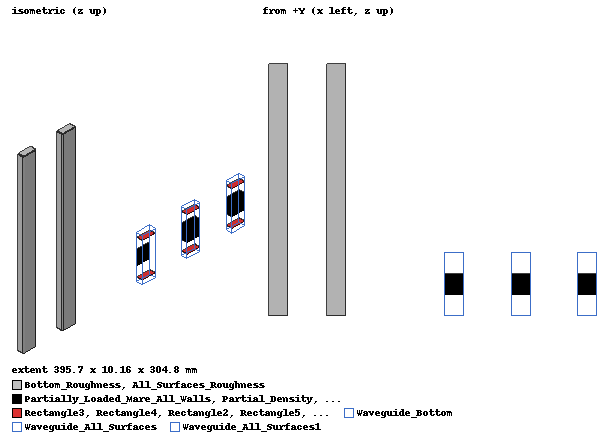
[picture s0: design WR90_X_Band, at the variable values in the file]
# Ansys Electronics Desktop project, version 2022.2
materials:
  vacuum: permittivity=1
  aluminum: permeability=1.000021 conductivity=38000000
  Rogers RO3003 (tm): permittivity=3 dielectric_loss_tangent=0.0013
  Mare_S_Band: permittivity=1.04 conductivity=4.34e-14 dielectric_loss_tangent=0.00298 delta_H_freq=2200000000
  Highlands_S_Band: permittivity=2.82 conductivity=4.34e-14 dielectric_loss_tangent=0.005 delta_H_freq=2200000000
  silver: permeability=0.99998 conductivity=61000000
  Mare_X-band: permittivity=3.5 conductivity=4.34e-14 dielectric_loss_tangent=0.00944 delta_H_freq=10000000000
  Highlands_X-band: permittivity=2.82 conductivity=4.34e-14 dielectric_loss_tangent=0.0066 delta_H_freq=10000000000
  Mare_Ka-band: permittivity=1.05 conductivity=4.34e-14 dielectric_loss_tangent=0.0029 delta_H_freq=26700000000
  Highlands_Ka-band: permittivity=1.5 conductivity=4.34e-14 dielectric_loss_tangent=0.0031 delta_H_freq=26700000000
  silicon_dioxide - experiment: permittivity=4 dielectric_loss_tangent=0.0002 delta_H_freq=2000000000
  alumina_99pct: permittivity=9.9 dielectric_loss_tangent=0.004 delta_H_freq=10000000000
  Mare_X-band - Partial: permittivity=3.18 conductivity=4.34e-14 dielectric_loss_tangent=0.0086 delta_H_freq=10000000000
  FR4_epoxy: permittivity=4.4 dielectric_loss_tangent=0.02
  conformal_coat: permittivity=3.1 permeability=1 dielectric_loss_tangent=0.035
  brass: conductivity=15000000
  bronze: conductivity=10000000
  pec: conductivity=1e+30
  Teflon (tm): permittivity=2.05 dielectric_loss_tangent=0.0002

design WR90_X_Band (HFSS, DrivenModal, model units mm)
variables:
  height = 1mm
  height_all_walls = 0.25mm
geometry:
  Waveguide_Bottom [vacuum] = box(corner=(-0.4mm, -1.2mm, 0mm), size=(22.86mm, 10.16mm, 3in))
  Waveguide_Bottom.move(-192.46mm, 0mm, 0mm)
  Partially_Loaded_Mare [Highlands_X-band] = box(corner=(-0.4mm, -1.2mm, 1in), size=(22.86mm, height, 1in))
  Partially_Loaded_Mare.move(-192.46mm, 0mm, 0mm)
  Waveguide_All_Surfaces [vacuum] = box(corner=(-0.4mm, -1.2mm, 0mm), size=(22.86mm, 10.16mm, 3in))
  Waveguide_All_Surfaces.move(-192.46mm, 0mm, 0mm)
  Partially_Loaded_Mare_All_Walls [Highlands_X-band] = box(corner=(-0.4mm, -1.2mm, 1in), size=(22.86mm, height_all_walls, 1in))
  Partially_Loaded_Mare_All_Walls.move(-192.46mm, 0mm, 0mm)
  [Waveguide_All_Surfaces, Partially_Loaded_Mare_All_Walls].move(-140mm, 0mm, 0mm)
  Box1 = box(corner=(-310mm, -1.2mm, 1in), size=(-height_all_walls, 10.16mm, 1in))
  Box2 = box(corner=(-332.86mm, -1.2mm, 1in), size=(height_all_walls, 10.16mm, 1in))
  Box3 = box(corner=(-310mm, 8.96mm, 1in), size=(-22.86mm, -height_all_walls, 1in))
  Partially_Loaded_Mare_All_Walls.unite(Box1, Box2, Box3)
  Bottom_Roughness [vacuum] = box(corner=(-0.4mm, -1.2mm, 0), size=(22.86mm, 10.16mm, 12in))
  Bottom_Roughness.move(60.4mm, 0mm, 0mm)
  Rectangle2 = rectangle(corner=(-310mm, 8.96mm, 7.5mm), x_size=-22.86mm, y_size=-10.16mm)
  Rectangle3 = rectangle(corner=(-170mm, 8.96mm, 7.5mm), x_size=-22.86mm, y_size=-10.16mm)
  Rectangle4 = rectangle(corner=(-192.86mm, 8.96mm, 3in-7.5mm), x_size=22.86mm, y_size=-10.16mm)
  Rectangle5 = rectangle(corner=(-332.86mm, 8.96mm, 3in-7.5mm), x_size=22.86mm, y_size=-10.16mm)
  [Waveguide_Bottom, Partially_Loaded_Mare, Rectangle3, Rectangle4].move(110mm, 0mm, 0mm)
  [Waveguide_All_Surfaces, Partially_Loaded_Mare_All_Walls, Rectangle2, Rectangle5].move(170mm, 0mm, 0mm)
  All_Surfaces_Roughness [vacuum] = box(corner=(-0.4mm, -1.2mm, 0), size=(22.86mm, 10.16mm, 12in))
  All_Surfaces_Roughness.move(60.4mm, 0mm, 0mm)
  All_Surfaces_Roughness.move(70mm, 0mm, 0mm)
  Waveguide_All_Surfaces1 [vacuum] = box(corner=(-0.4mm, -1.2mm, 0mm), size=(22.86mm, 10.16mm, 3in))
  Waveguide_All_Surfaces1.move(-192.46mm, 0mm, 0mm)
  Waveguide_All_Surfaces1.move(-140mm, 0mm, 0mm)
  Waveguide_All_Surfaces1.move(170mm, 0mm, 0mm)
  Rectangle6 = rectangle(corner=(-310mm, 8.96mm, 7.5mm), x_size=-22.86mm, y_size=-10.16mm)
  Rectangle6.move(170mm, 0mm, 0mm)
  Rectangle7 = rectangle(corner=(-332.86mm, 8.96mm, 3in-7.5mm), x_size=22.86mm, y_size=-10.16mm)
  Rectangle7.move(170mm, 0mm, 0mm)
  [Waveguide_All_Surfaces1, Rectangle6, Rectangle7].move(-80mm, 0mm, 0mm)
  Partial_Density [Highlands_X-band] = box(corner=(-220mm, 8.96mm, 25.4mm), size=(-22.86mm, -10.16mm, 25.4mm))
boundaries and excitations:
  FiniteCond1: Finite Conductivity Faces=Waveguide_Bottom.face(+y, -x, +x) UseMaterial Material=brass IsInternal
  FiniteCond2: Finite Conductivity Faces=Waveguide_All_Surfaces.face(+y, -x, +x, -y) UseMaterial Material=brass IsInternal
  FiniteCond3: Finite Conductivity Faces=Waveguide_Bottom.face(-y) UseMaterial Material=brass IsInternal
  Bot_Roughness: Finite Conductivity Faces=Bottom_Roughness.face(-y) UseMaterial Material=brass Roughness=100um IsInternal
  FiniteCond4: Finite Conductivity Faces=Bottom_Roughness.face(+y, -x, +x) UseMaterial Material=brass IsInternal
  All_Surfaces_Roughness: Finite Conductivity Faces=All_Surfaces_Roughness.face(+y, +x, -x, -y) UseMaterial Material=brass Roughness=25um IsInternal
  PerfE6: Perfect E Faces=Waveguide_Bottom.face(-z, +z) Waveguide_All_Surfaces.face(-z, +z)
  FiniteCond5: Finite Conductivity Faces=Waveguide_All_Surfaces1.face(+y, -x, +x, -y) UseMaterial Material=brass IsInternal
  1: Lumped Port Objects=Rectangle3 Modes{Mode1{IntLine{(-71.43, -1.2, 7.5) -> (-71.43, 8.96, 7.5)} CharImp=Zpi RenormImp=50ohm}} Impedance=50ohm
  2: Lumped Port Objects=Rectangle4 Modes{Mode1{IntLine{(-71.43, -1.2, 68.7) -> (-71.43, 8.96, 68.7)} CharImp=Zpi RenormImp=50ohm}} Impedance=50ohm
  3: Lumped Port Objects=Rectangle2 Modes{Mode1{IntLine{(-151.43, -1.2, 7.5) -> (-151.43, 8.96, 7.5)} CharImp=Zpi RenormImp=50ohm}} Impedance=50ohm
  4: Lumped Port Objects=Rectangle5 Modes{Mode1{IntLine{(-151.43, -1.2, 68.7) -> (-151.43, 8.96, 68.7)} CharImp=Zpi RenormImp=50ohm}} Impedance=50ohm
  5: Wave Port Faces=Bottom_Roughness.face(-z) NumModes=1 Modes{Mode1{IntLine{(71.43, -1.2, 0) -> (71.43, 8.96, 0)} CharImp=Zpi RenormImp=50ohm}}
  6: Wave Port Faces=Bottom_Roughness.face(+z) NumModes=1 Modes{Mode1{IntLine{(71.43, -1.2, 304.8) -> (71.43, 8.96, 304.8)} CharImp=Zpi RenormImp=50ohm}}
  7: Wave Port Faces=All_Surfaces_Roughness.face(-z) NumModes=1 Modes{Mode1{IntLine{(141.43, -1.2, 0) -> (141.43, 8.96, 0)} CharImp=Zpi RenormImp=50ohm}}
  8: Wave Port Faces=All_Surfaces_Roughness.face(+z) NumModes=1 Modes{Mode1{IntLine{(141.43, -1.2, 304.8) -> (141.43, 8.96, 304.8)} CharImp=Zpi RenormImp=50ohm}}
  9: Lumped Port Objects=Rectangle6 Modes{Mode1{IntLine{(-231.43, -1.2, 7.5) -> (-231.43, 8.96, 7.5)} CharImp=Zpi RenormImp=50ohm}} Impedance=50ohm
  10: Lumped Port Objects=Rectangle7 Modes{Mode1{IntLine{(-231.43, -1.2, 68.7) -> (-231.43, 8.96, 68.7)} CharImp=Zpi RenormImp=50ohm}} Impedance=50ohm
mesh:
  Length3: LengthBased Faces=Partially_Loaded_Mare_All_Walls.face(-z, 4 of 6, +y, +z, 3 of 6, 6 of 6) MaxLength=2mm
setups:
  Setup1: HfssDriven Frequency=10GHz MaxDeltaS=0.005 MaximumPasses=8 MinimumPasses=1 MinimumConvergedPasses=1 PercentRefinement=30 BasisOrder=1 PortAccuracy=2 DrivenSolverType="Direct Solver"
    sweep Sweep: 9GHz to 11GHz, 300 points; Type=Interpolating InterpTolerance=0.5 InterpMaxSolns=250 InterpUsePortImped=false PassivityErrorTolerance=0.0001
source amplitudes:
  1:1: 1W 0deg
  2:1, 3:1, 4:1, 5:1, 6:1, 7:1, 8:1, 9:1, 10:1: 0W 0deg
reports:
  Reflection: dB(S(1,1)), dB(S(3,3)) vs Freq on Setup1 : Sweep; markers m1 at 10.008016GHz, m2 at 10.008016GHz
  Insertion: dB(S(2,1)) vs Freq on Setup1 : Sweep [height=all]; markers m1 at 9.722408GHz, m2 at 10.052104GHz
  S Parameter Plot 2: dB(S(4,3)) vs Freq on Setup1 : Sweep; markers m1 at 9.7826087GHz
  Bottom_Roughness: dB(S(6,5)) vs Freq on Setup1 : Sweep; markers m1 at 9.8695652GHz
  All_Surfaces: dB(S(8,7)) vs Freq on Setup1 : Sweep; markers m1 at 9.8695652GHz
